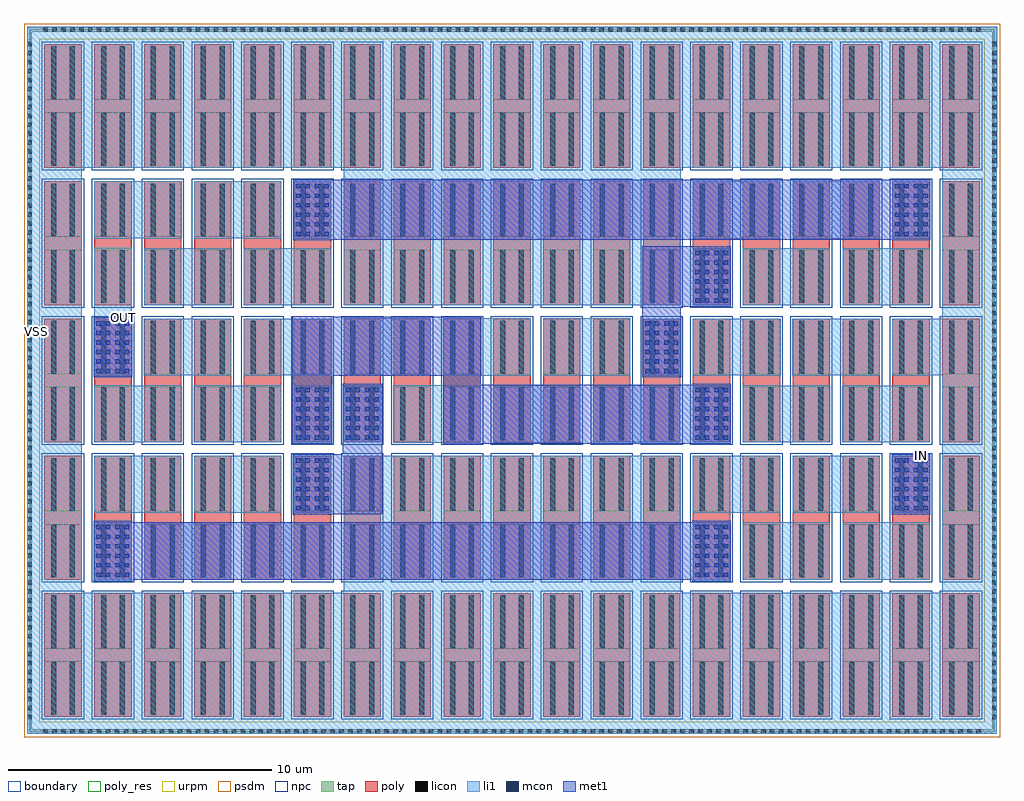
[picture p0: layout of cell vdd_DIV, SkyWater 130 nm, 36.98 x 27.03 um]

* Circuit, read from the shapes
.subckt vdd_DIV IN OUT VSS
XR1 VSS VSS VSS sky130_fd_pr__res_xhigh_po w=1.41 l=0.4 m=58
XR2 sky130_fd_pr__res_xhigh_po_1p41_FTWAA4_0/R1_1_1 sky130_fd_pr__res_xhigh_po_1p41_FTWAA4_0/R2_13_1 VSS sky130_fd_pr__res_xhigh_po w=1.41 l=0.4
XR3 OUT sky130_fd_pr__res_xhigh_po_1p41_FTWAA4_0/R2_1_2 VSS sky130_fd_pr__res_xhigh_po w=1.41 l=0.4
XR4 sky130_fd_pr__res_xhigh_po_1p41_FTWAA4_0/R1_1_3 OUT VSS sky130_fd_pr__res_xhigh_po w=1.41 l=0.4
XR5 sky130_fd_pr__res_xhigh_po_1p41_FTWAA4_0/R1_1_1 sky130_fd_pr__res_xhigh_po_1p41_FTWAA4_0/R2_2_1 VSS sky130_fd_pr__res_xhigh_po w=1.41 l=0.4
XR6 sky130_fd_pr__res_xhigh_po_1p41_FTWAA4_0/R1_2_2 sky130_fd_pr__res_xhigh_po_1p41_FTWAA4_0/R2_1_2 VSS sky130_fd_pr__res_xhigh_po w=1.41 l=0.4
XR7 sky130_fd_pr__res_xhigh_po_1p41_FTWAA4_0/R1_1_3 sky130_fd_pr__res_xhigh_po_1p41_FTWAA4_0/R2_2_3 VSS sky130_fd_pr__res_xhigh_po w=1.41 l=0.4
XR8 sky130_fd_pr__res_xhigh_po_1p41_FTWAA4_0/R1_3_1 sky130_fd_pr__res_xhigh_po_1p41_FTWAA4_0/R2_2_1 VSS sky130_fd_pr__res_xhigh_po w=1.41 l=0.4
XR9 sky130_fd_pr__res_xhigh_po_1p41_FTWAA4_0/R1_2_2 sky130_fd_pr__res_xhigh_po_1p41_FTWAA4_0/R2_3_2 VSS sky130_fd_pr__res_xhigh_po w=1.41 l=0.4
XR10 sky130_fd_pr__res_xhigh_po_1p41_FTWAA4_0/R1_3_3 sky130_fd_pr__res_xhigh_po_1p41_FTWAA4_0/R2_2_3 VSS sky130_fd_pr__res_xhigh_po w=1.41 l=0.4
XR11 sky130_fd_pr__res_xhigh_po_1p41_FTWAA4_0/R1_3_1 sky130_fd_pr__res_xhigh_po_1p41_FTWAA4_0/R2_4_1 VSS sky130_fd_pr__res_xhigh_po w=1.41 l=0.4
XR12 sky130_fd_pr__res_xhigh_po_1p41_FTWAA4_0/R1_4_2 sky130_fd_pr__res_xhigh_po_1p41_FTWAA4_0/R2_3_2 VSS sky130_fd_pr__res_xhigh_po w=1.41 l=0.4
XR13 sky130_fd_pr__res_xhigh_po_1p41_FTWAA4_0/R1_3_3 sky130_fd_pr__res_xhigh_po_1p41_FTWAA4_0/R2_4_3 VSS sky130_fd_pr__res_xhigh_po w=1.41 l=0.4
XR14 sky130_fd_pr__res_xhigh_po_1p41_FTWAA4_0/R1_5_1 sky130_fd_pr__res_xhigh_po_1p41_FTWAA4_0/R2_4_1 VSS sky130_fd_pr__res_xhigh_po w=1.41 l=0.4
XR15 sky130_fd_pr__res_xhigh_po_1p41_FTWAA4_0/R1_4_2 sky130_fd_pr__res_xhigh_po_1p41_FTWAA4_0/R2_13_2 VSS sky130_fd_pr__res_xhigh_po w=1.41 l=0.4
XR16 sky130_fd_pr__res_xhigh_po_1p41_FTWAA4_0/R1_17_3 sky130_fd_pr__res_xhigh_po_1p41_FTWAA4_0/R2_4_3 VSS sky130_fd_pr__res_xhigh_po w=1.41 l=0.4
XR17 sky130_fd_pr__res_xhigh_po_1p41_FTWAA4_0/R1_6_2 sky130_fd_pr__res_xhigh_po_1p41_FTWAA4_0/R1_5_1 VSS sky130_fd_pr__res_xhigh_po w=1.41 l=0.4
XR18 sky130_fd_pr__res_xhigh_po_1p41_FTWAA4_0/R1_6_2 sky130_fd_pr__res_xhigh_po_1p41_FTWAA4_0/R2_7_2 VSS sky130_fd_pr__res_xhigh_po w=1.41 l=0.4
XR19 sky130_fd_pr__res_xhigh_po_1p41_FTWAA4_0/R1_8_2 sky130_fd_pr__res_xhigh_po_1p41_FTWAA4_0/R2_7_2 VSS sky130_fd_pr__res_xhigh_po w=1.41 l=0.4
XR20 sky130_fd_pr__res_xhigh_po_1p41_FTWAA4_0/R1_8_2 sky130_fd_pr__res_xhigh_po_1p41_FTWAA4_0/R2_10_2 VSS sky130_fd_pr__res_xhigh_po w=1.41 l=0.4
XR21 sky130_fd_pr__res_xhigh_po_1p41_FTWAA4_0/R1_10_2 sky130_fd_pr__res_xhigh_po_1p41_FTWAA4_0/R2_10_2 VSS sky130_fd_pr__res_xhigh_po w=1.41 l=0.4
XR22 sky130_fd_pr__res_xhigh_po_1p41_FTWAA4_0/R1_10_2 sky130_fd_pr__res_xhigh_po_1p41_FTWAA4_0/R2_11_2 VSS sky130_fd_pr__res_xhigh_po w=1.41 l=0.4
XR23 sky130_fd_pr__res_xhigh_po_1p41_FTWAA4_0/R1_12_2 sky130_fd_pr__res_xhigh_po_1p41_FTWAA4_0/R2_11_2 VSS sky130_fd_pr__res_xhigh_po w=1.41 l=0.4
XR24 sky130_fd_pr__res_xhigh_po_1p41_FTWAA4_0/R1_13_1 sky130_fd_pr__res_xhigh_po_1p41_FTWAA4_0/R2_13_1 VSS sky130_fd_pr__res_xhigh_po w=1.41 l=0.4
XR25 sky130_fd_pr__res_xhigh_po_1p41_FTWAA4_0/R1_13_2 sky130_fd_pr__res_xhigh_po_1p41_FTWAA4_0/R2_13_2 VSS sky130_fd_pr__res_xhigh_po w=1.41 l=0.4
XR26 sky130_fd_pr__res_xhigh_po_1p41_FTWAA4_0/R1_13_3 sky130_fd_pr__res_xhigh_po_1p41_FTWAA4_0/R1_12_2 VSS sky130_fd_pr__res_xhigh_po w=1.41 l=0.4
XR27 sky130_fd_pr__res_xhigh_po_1p41_FTWAA4_0/R1_13_1 sky130_fd_pr__res_xhigh_po_1p41_FTWAA4_0/R2_14_1 VSS sky130_fd_pr__res_xhigh_po w=1.41 l=0.4
XR28 sky130_fd_pr__res_xhigh_po_1p41_FTWAA4_0/R1_13_2 sky130_fd_pr__res_xhigh_po_1p41_FTWAA4_0/R2_14_2 VSS sky130_fd_pr__res_xhigh_po w=1.41 l=0.4
XR29 sky130_fd_pr__res_xhigh_po_1p41_FTWAA4_0/R1_13_3 sky130_fd_pr__res_xhigh_po_1p41_FTWAA4_0/R2_14_3 VSS sky130_fd_pr__res_xhigh_po w=1.41 l=0.4
XR30 sky130_fd_pr__res_xhigh_po_1p41_FTWAA4_0/R1_15_1 sky130_fd_pr__res_xhigh_po_1p41_FTWAA4_0/R2_14_1 VSS sky130_fd_pr__res_xhigh_po w=1.41 l=0.4
XR31 sky130_fd_pr__res_xhigh_po_1p41_FTWAA4_0/R1_15_2 sky130_fd_pr__res_xhigh_po_1p41_FTWAA4_0/R2_14_2 VSS sky130_fd_pr__res_xhigh_po w=1.41 l=0.4
XR32 sky130_fd_pr__res_xhigh_po_1p41_FTWAA4_0/R1_15_3 sky130_fd_pr__res_xhigh_po_1p41_FTWAA4_0/R2_14_3 VSS sky130_fd_pr__res_xhigh_po w=1.41 l=0.4
XR33 sky130_fd_pr__res_xhigh_po_1p41_FTWAA4_0/R1_15_1 sky130_fd_pr__res_xhigh_po_1p41_FTWAA4_0/R2_16_1 VSS sky130_fd_pr__res_xhigh_po w=1.41 l=0.4
XR34 sky130_fd_pr__res_xhigh_po_1p41_FTWAA4_0/R1_15_2 sky130_fd_pr__res_xhigh_po_1p41_FTWAA4_0/R2_16_2 VSS sky130_fd_pr__res_xhigh_po w=1.41 l=0.4
XR35 sky130_fd_pr__res_xhigh_po_1p41_FTWAA4_0/R1_15_3 sky130_fd_pr__res_xhigh_po_1p41_FTWAA4_0/R2_16_3 VSS sky130_fd_pr__res_xhigh_po w=1.41 l=0.4
XR36 IN sky130_fd_pr__res_xhigh_po_1p41_FTWAA4_0/R2_16_1 VSS sky130_fd_pr__res_xhigh_po w=1.41 l=0.4
XR37 VSS sky130_fd_pr__res_xhigh_po_1p41_FTWAA4_0/R2_16_2 VSS sky130_fd_pr__res_xhigh_po w=1.41 l=0.4
XR38 sky130_fd_pr__res_xhigh_po_1p41_FTWAA4_0/R1_17_3 sky130_fd_pr__res_xhigh_po_1p41_FTWAA4_0/R2_16_3 VSS sky130_fd_pr__res_xhigh_po w=1.41 l=0.4
.ends

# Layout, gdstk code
import gdstk
lib = gdstk.Library(unit=1e-6, precision=1e-09)
def R(c, l, rs):  # rectangles x0, y0, x1, y1
    for r in rs: c.add(gdstk.rectangle(r[:2], r[2:], *l))
def A(c, l, x, y, w, h, nx, ny, dx, dy):  # array of equal rectangles
    R(c, l, [(x+i*dx, y+j*dy, x+i*dx+w, y+j*dy+h) for i in range(nx) for j in range(ny)])
tap = (65, 44)
poly_res = (66, 13)
poly = (66, 20)
licon = (66, 44)
li1 = (67, 20)
mcon = (67, 44)
met1 = (68, 20)
urpm = (79, 20)
psdm = (94, 20)
npc = (95, 20)
boundary = (235, 4)

sky130_fd_pr__res_xhigh_ = lib.new_cell('sky130_fd_pr__res_xhigh_po_1p41_FTWAA4')
R(sky130_fd_pr__res_xhigh_, tap, [(-18.365,-13.39,18.365,-13.22), (-18.365,-13.22,-18.195,13.22), (18.195,-13.22,18.365,13.22), (-18.365,13.22,18.365,13.39)])
A(sky130_fd_pr__res_xhigh_, poly_res, -17.715, -10.66, 1.41, 0.52, 19, 5, 1.89, 5.2)
A(sky130_fd_pr__res_xhigh_, poly, -17.715, -12.74, 1.41, 4.68, 19, 5, 1.89, 5.2)
A(sky130_fd_pr__res_xhigh_, licon, -17.765, -13.39, 0.17, 0.17, 105, 2, 0.34, 26.61)
A(sky130_fd_pr__res_xhigh_, licon, -18.365, -12.835, 0.17, 0.17, 1, 76, 0, 0.34)
A(sky130_fd_pr__res_xhigh_, licon, 18.195, -12.835, 0.17, 0.17, 1, 76, 0, 0.34)
R(sky130_fd_pr__res_xhigh_, licon, [(-17.46,-12.66,-17.27,-10.66), (-16.75,-12.66,-16.56,-10.66), (-15.57,-12.66,-15.38,-10.66), (-14.86,-12.66,-14.67,-10.66), (-13.68,-12.66,-13.49,-10.66), (-12.97,-12.66,-12.78,-10.66), (-11.79,-12.66,-11.6,-10.66), (-11.08,-12.66,-10.89,-10.66), (-9.9,-12.66,-9.71,-10.66), (-9.19,-12.66,-9,-10.66), (-8.01,-12.66,-7.82,-10.66), (-7.3,-12.66,-7.11,-10.66), (-6.12,-12.66,-5.93,-10.66), (-5.41,-12.66,-5.22,-10.66), (-4.23,-12.66,-4.04,-10.66), (-3.52,-12.66,-3.33,-10.66), (-2.34,-12.66,-2.15,-10.66), (-1.63,-12.66,-1.44,-10.66), (-0.45,-12.66,-0.26,-10.66), (0.26,-12.66,0.45,-10.66), (1.44,-12.66,1.63,-10.66), (2.15,-12.66,2.34,-10.66), (3.33,-12.66,3.52,-10.66), (4.04,-12.66,4.23,-10.66), (5.22,-12.66,5.41,-10.66), (5.93,-12.66,6.12,-10.66), (7.11,-12.66,7.3,-10.66), (7.82,-12.66,8.01,-10.66), (9,-12.66,9.19,-10.66), (9.71,-12.66,9.9,-10.66), (10.89,-12.66,11.08,-10.66), (11.6,-12.66,11.79,-10.66), (12.78,-12.66,12.97,-10.66), (13.49,-12.66,13.68,-10.66), (14.67,-12.66,14.86,-10.66), (15.38,-12.66,15.57,-10.66), (16.56,-12.66,16.75,-10.66), (17.27,-12.66,17.46,-10.66), (-17.46,-10.14,-17.27,-8.14), (-16.75,-10.14,-16.56,-8.14), (-15.57,-10.14,-15.38,-8.14), (-14.86,-10.14,-14.67,-8.14), (-13.68,-10.14,-13.49,-8.14), (-12.97,-10.14,-12.78,-8.14), (-11.79,-10.14,-11.6,-8.14), (-11.08,-10.14,-10.89,-8.14), (-9.9,-10.14,-9.71,-8.14), (-9.19,-10.14,-9,-8.14), (-8.01,-10.14,-7.82,-8.14), (-7.3,-10.14,-7.11,-8.14), (-6.12,-10.14,-5.93,-8.14), (-5.41,-10.14,-5.22,-8.14), (-4.23,-10.14,-4.04,-8.14), (-3.52,-10.14,-3.33,-8.14), (-2.34,-10.14,-2.15,-8.14), (-1.63,-10.14,-1.44,-8.14), (-0.45,-10.14,-0.26,-8.14), (0.26,-10.14,0.45,-8.14), (1.44,-10.14,1.63,-8.14), (2.15,-10.14,2.34,-8.14), (3.33,-10.14,3.52,-8.14), (4.04,-10.14,4.23,-8.14), (5.22,-10.14,5.41,-8.14), (5.93,-10.14,6.12,-8.14), (7.11,-10.14,7.3,-8.14), (7.82,-10.14,8.01,-8.14), (9,-10.14,9.19,-8.14), (9.71,-10.14,9.9,-8.14), (10.89,-10.14,11.08,-8.14), (11.6,-10.14,11.79,-8.14), (12.78,-10.14,12.97,-8.14), (13.49,-10.14,13.68,-8.14), (14.67,-10.14,14.86,-8.14), (15.38,-10.14,15.57,-8.14), (16.56,-10.14,16.75,-8.14), (17.27,-10.14,17.46,-8.14), (-17.46,-7.46,-17.27,-5.46), (-16.75,-7.46,-16.56,-5.46), (-15.57,-7.46,-15.38,-5.46), (-14.86,-7.46,-14.67,-5.46), (-13.68,-7.46,-13.49,-5.46), (-12.97,-7.46,-12.78,-5.46), (-11.79,-7.46,-11.6,-5.46), (-11.08,-7.46,-10.89,-5.46), (-9.9,-7.46,-9.71,-5.46), (-9.19,-7.46,-9,-5.46), (-8.01,-7.46,-7.82,-5.46), (-7.3,-7.46,-7.11,-5.46), (-6.12,-7.46,-5.93,-5.46), (-5.41,-7.46,-5.22,-5.46), (-4.23,-7.46,-4.04,-5.46), (-3.52,-7.46,-3.33,-5.46), (-2.34,-7.46,-2.15,-5.46), (-1.63,-7.46,-1.44,-5.46), (-0.45,-7.46,-0.26,-5.46), (0.26,-7.46,0.45,-5.46), (1.44,-7.46,1.63,-5.46), (2.15,-7.46,2.34,-5.46), (3.33,-7.46,3.52,-5.46), (4.04,-7.46,4.23,-5.46), (5.22,-7.46,5.41,-5.46), (5.93,-7.46,6.12,-5.46), (7.11,-7.46,7.3,-5.46), (7.82,-7.46,8.01,-5.46), (9,-7.46,9.19,-5.46), (9.71,-7.46,9.9,-5.46), (10.89,-7.46,11.08,-5.46), (11.6,-7.46,11.79,-5.46), (12.78,-7.46,12.97,-5.46), (13.49,-7.46,13.68,-5.46), (14.67,-7.46,14.86,-5.46), (15.38,-7.46,15.57,-5.46), (16.56,-7.46,16.75,-5.46), (17.27,-7.46,17.46,-5.46), (-17.46,-4.94,-17.27,-2.94), (-16.75,-4.94,-16.56,-2.94), (-15.57,-4.94,-15.38,-2.94), (-14.86,-4.94,-14.67,-2.94), (-13.68,-4.94,-13.49,-2.94), (-12.97,-4.94,-12.78,-2.94), (-11.79,-4.94,-11.6,-2.94), (-11.08,-4.94,-10.89,-2.94), (-9.9,-4.94,-9.71,-2.94), (-9.19,-4.94,-9,-2.94), (-8.01,-4.94,-7.82,-2.94), (-7.3,-4.94,-7.11,-2.94), (-6.12,-4.94,-5.93,-2.94), (-5.41,-4.94,-5.22,-2.94), (-4.23,-4.94,-4.04,-2.94), (-3.52,-4.94,-3.33,-2.94), (-2.34,-4.94,-2.15,-2.94), (-1.63,-4.94,-1.44,-2.94), (-0.45,-4.94,-0.26,-2.94), (0.26,-4.94,0.45,-2.94), (1.44,-4.94,1.63,-2.94), (2.15,-4.94,2.34,-2.94), (3.33,-4.94,3.52,-2.94), (4.04,-4.94,4.23,-2.94), (5.22,-4.94,5.41,-2.94), (5.93,-4.94,6.12,-2.94), (7.11,-4.94,7.3,-2.94), (7.82,-4.94,8.01,-2.94), (9,-4.94,9.19,-2.94), (9.71,-4.94,9.9,-2.94), (10.89,-4.94,11.08,-2.94), (11.6,-4.94,11.79,-2.94), (12.78,-4.94,12.97,-2.94), (13.49,-4.94,13.68,-2.94), (14.67,-4.94,14.86,-2.94), (15.38,-4.94,15.57,-2.94), (16.56,-4.94,16.75,-2.94), (17.27,-4.94,17.46,-2.94), (-17.46,-2.26,-17.27,-0.26), (-16.75,-2.26,-16.56,-0.26), (-15.57,-2.26,-15.38,-0.26), (-14.86,-2.26,-14.67,-0.26), (-13.68,-2.26,-13.49,-0.26), (-12.97,-2.26,-12.78,-0.26), (-11.79,-2.26,-11.6,-0.26), (-11.08,-2.26,-10.89,-0.26), (-9.9,-2.26,-9.71,-0.26), (-9.19,-2.26,-9,-0.26), (-8.01,-2.26,-7.82,-0.26), (-7.3,-2.26,-7.11,-0.26), (-6.12,-2.26,-5.93,-0.26), (-5.41,-2.26,-5.22,-0.26), (-4.23,-2.26,-4.04,-0.26), (-3.52,-2.26,-3.33,-0.26), (-2.34,-2.26,-2.15,-0.26), (-1.63,-2.26,-1.44,-0.26), (-0.45,-2.26,-0.26,-0.26), (0.26,-2.26,0.45,-0.26), (1.44,-2.26,1.63,-0.26), (2.15,-2.26,2.34,-0.26), (3.33,-2.26,3.52,-0.26), (4.04,-2.26,4.23,-0.26), (5.22,-2.26,5.41,-0.26), (5.93,-2.26,6.12,-0.26), (7.11,-2.26,7.3,-0.26), (7.82,-2.26,8.01,-0.26), (9,-2.26,9.19,-0.26), (9.71,-2.26,9.9,-0.26), (10.89,-2.26,11.08,-0.26), (11.6,-2.26,11.79,-0.26), (12.78,-2.26,12.97,-0.26), (13.49,-2.26,13.68,-0.26), (14.67,-2.26,14.86,-0.26), (15.38,-2.26,15.57,-0.26), (16.56,-2.26,16.75,-0.26), (17.27,-2.26,17.46,-0.26), (-17.46,0.26,-17.27,2.26), (-16.75,0.26,-16.56,2.26), (-15.57,0.26,-15.38,2.26), (-14.86,0.26,-14.67,2.26), (-13.68,0.26,-13.49,2.26), (-12.97,0.26,-12.78,2.26), (-11.79,0.26,-11.6,2.26), (-11.08,0.26,-10.89,2.26), (-9.9,0.26,-9.71,2.26), (-9.19,0.26,-9,2.26), (-8.01,0.26,-7.82,2.26), (-7.3,0.26,-7.11,2.26), (-6.12,0.26,-5.93,2.26), (-5.41,0.26,-5.22,2.26), (-4.23,0.26,-4.04,2.26), (-3.52,0.26,-3.33,2.26), (-2.34,0.26,-2.15,2.26), (-1.63,0.26,-1.44,2.26), (-0.45,0.26,-0.26,2.26), (0.26,0.26,0.45,2.26), (1.44,0.26,1.63,2.26), (2.15,0.26,2.34,2.26), (3.33,0.26,3.52,2.26), (4.04,0.26,4.23,2.26), (5.22,0.26,5.41,2.26), (5.93,0.26,6.12,2.26), (7.11,0.26,7.3,2.26), (7.82,0.26,8.01,2.26), (9,0.26,9.19,2.26), (9.71,0.26,9.9,2.26), (10.89,0.26,11.08,2.26), (11.6,0.26,11.79,2.26), (12.78,0.26,12.97,2.26), (13.49,0.26,13.68,2.26), (14.67,0.26,14.86,2.26), (15.38,0.26,15.57,2.26), (16.56,0.26,16.75,2.26), (17.27,0.26,17.46,2.26), (-17.46,2.94,-17.27,4.94), (-16.75,2.94,-16.56,4.94), (-15.57,2.94,-15.38,4.94), (-14.86,2.94,-14.67,4.94), (-13.68,2.94,-13.49,4.94), (-12.97,2.94,-12.78,4.94), (-11.79,2.94,-11.6,4.94), (-11.08,2.94,-10.89,4.94), (-9.9,2.94,-9.71,4.94), (-9.19,2.94,-9,4.94), (-8.01,2.94,-7.82,4.94), (-7.3,2.94,-7.11,4.94), (-6.12,2.94,-5.93,4.94), (-5.41,2.94,-5.22,4.94), (-4.23,2.94,-4.04,4.94), (-3.52,2.94,-3.33,4.94), (-2.34,2.94,-2.15,4.94), (-1.63,2.94,-1.44,4.94), (-0.45,2.94,-0.26,4.94), (0.26,2.94,0.45,4.94), (1.44,2.94,1.63,4.94), (2.15,2.94,2.34,4.94), (3.33,2.94,3.52,4.94), (4.04,2.94,4.23,4.94), (5.22,2.94,5.41,4.94), (5.93,2.94,6.12,4.94), (7.11,2.94,7.3,4.94), (7.82,2.94,8.01,4.94), (9,2.94,9.19,4.94), (9.71,2.94,9.9,4.94), (10.89,2.94,11.08,4.94), (11.6,2.94,11.79,4.94), (12.78,2.94,12.97,4.94), (13.49,2.94,13.68,4.94), (14.67,2.94,14.86,4.94), (15.38,2.94,15.57,4.94), (16.56,2.94,16.75,4.94), (17.27,2.94,17.46,4.94), (-17.46,5.46,-17.27,7.46), (-16.75,5.46,-16.56,7.46), (-15.57,5.46,-15.38,7.46), (-14.86,5.46,-14.67,7.46), (-13.68,5.46,-13.49,7.46), (-12.97,5.46,-12.78,7.46), (-11.79,5.46,-11.6,7.46), (-11.08,5.46,-10.89,7.46), (-9.9,5.46,-9.71,7.46), (-9.19,5.46,-9,7.46), (-8.01,5.46,-7.82,7.46), (-7.3,5.46,-7.11,7.46), (-6.12,5.46,-5.93,7.46), (-5.41,5.46,-5.22,7.46), (-4.23,5.46,-4.04,7.46), (-3.52,5.46,-3.33,7.46), (-2.34,5.46,-2.15,7.46), (-1.63,5.46,-1.44,7.46), (-0.45,5.46,-0.26,7.46), (0.26,5.46,0.45,7.46), (1.44,5.46,1.63,7.46), (2.15,5.46,2.34,7.46), (3.33,5.46,3.52,7.46), (4.04,5.46,4.23,7.46), (5.22,5.46,5.41,7.46), (5.93,5.46,6.12,7.46), (7.11,5.46,7.3,7.46), (7.82,5.46,8.01,7.46), (9,5.46,9.19,7.46), (9.71,5.46,9.9,7.46), (10.89,5.46,11.08,7.46), (11.6,5.46,11.79,7.46), (12.78,5.46,12.97,7.46), (13.49,5.46,13.68,7.46), (14.67,5.46,14.86,7.46), (15.38,5.46,15.57,7.46), (16.56,5.46,16.75,7.46), (17.27,5.46,17.46,7.46), (-17.46,8.14,-17.27,10.14), (-16.75,8.14,-16.56,10.14), (-15.57,8.14,-15.38,10.14), (-14.86,8.14,-14.67,10.14), (-13.68,8.14,-13.49,10.14), (-12.97,8.14,-12.78,10.14), (-11.79,8.14,-11.6,10.14), (-11.08,8.14,-10.89,10.14), (-9.9,8.14,-9.71,10.14), (-9.19,8.14,-9,10.14), (-8.01,8.14,-7.82,10.14), (-7.3,8.14,-7.11,10.14), (-6.12,8.14,-5.93,10.14), (-5.41,8.14,-5.22,10.14), (-4.23,8.14,-4.04,10.14), (-3.52,8.14,-3.33,10.14), (-2.34,8.14,-2.15,10.14), (-1.63,8.14,-1.44,10.14), (-0.45,8.14,-0.26,10.14), (0.26,8.14,0.45,10.14), (1.44,8.14,1.63,10.14), (2.15,8.14,2.34,10.14), (3.33,8.14,3.52,10.14), (4.04,8.14,4.23,10.14), (5.22,8.14,5.41,10.14), (5.93,8.14,6.12,10.14), (7.11,8.14,7.3,10.14), (7.82,8.14,8.01,10.14), (9,8.14,9.19,10.14), (9.71,8.14,9.9,10.14), (10.89,8.14,11.08,10.14), (11.6,8.14,11.79,10.14), (12.78,8.14,12.97,10.14), (13.49,8.14,13.68,10.14), (14.67,8.14,14.86,10.14), (15.38,8.14,15.57,10.14), (16.56,8.14,16.75,10.14), (17.27,8.14,17.46,10.14), (-17.46,10.66,-17.27,12.66), (-16.75,10.66,-16.56,12.66), (-15.57,10.66,-15.38,12.66), (-14.86,10.66,-14.67,12.66), (-13.68,10.66,-13.49,12.66), (-12.97,10.66,-12.78,12.66), (-11.79,10.66,-11.6,12.66), (-11.08,10.66,-10.89,12.66), (-9.9,10.66,-9.71,12.66), (-9.19,10.66,-9,12.66), (-8.01,10.66,-7.82,12.66), (-7.3,10.66,-7.11,12.66), (-6.12,10.66,-5.93,12.66), (-5.41,10.66,-5.22,12.66), (-4.23,10.66,-4.04,12.66), (-3.52,10.66,-3.33,12.66), (-2.34,10.66,-2.15,12.66), (-1.63,10.66,-1.44,12.66), (-0.45,10.66,-0.26,12.66), (0.26,10.66,0.45,12.66), (1.44,10.66,1.63,12.66), (2.15,10.66,2.34,12.66), (3.33,10.66,3.52,12.66), (4.04,10.66,4.23,12.66), (5.22,10.66,5.41,12.66), (5.93,10.66,6.12,12.66), (7.11,10.66,7.3,12.66), (7.82,10.66,8.01,12.66), (9,10.66,9.19,12.66), (9.71,10.66,9.9,12.66), (10.89,10.66,11.08,12.66), (11.6,10.66,11.79,12.66), (12.78,10.66,12.97,12.66), (13.49,10.66,13.68,12.66), (14.67,10.66,14.86,12.66), (15.38,10.66,15.57,12.66), (16.56,10.66,16.75,12.66), (17.27,10.66,17.46,12.66)])
A(sky130_fd_pr__res_xhigh_, li1, -17.715, -12.74, 1.41, 2.16, 19, 2, 1.89, 2.52)
A(sky130_fd_pr__res_xhigh_, li1, -17.715, -7.54, 1.41, 2.16, 19, 2, 1.89, 2.52)
A(sky130_fd_pr__res_xhigh_, li1, -17.715, -2.34, 1.41, 2.16, 19, 2, 1.89, 2.52)
A(sky130_fd_pr__res_xhigh_, li1, -17.715, 2.86, 1.41, 2.16, 19, 2, 1.89, 2.52)
A(sky130_fd_pr__res_xhigh_, li1, -17.715, 8.06, 1.41, 2.16, 19, 2, 1.89, 2.52)
R(sky130_fd_pr__res_xhigh_, li1, [(-18.365,-13.39,18.365,-13.22), (-18.365,-13.22,-18.195,13.22), (18.195,-13.22,18.365,13.22), (-18.365,13.22,18.365,13.39)])
R(sky130_fd_pr__res_xhigh_, urpm, [(-17.915,-12.94,17.915,12.94)])
R(sky130_fd_pr__res_xhigh_, psdm, [(-18.49,-13.515,18.49,13.515)])
A(sky130_fd_pr__res_xhigh_, npc, -17.81, -12.835, 1.6, 4.87, 19, 5, 1.89, 5.2)
R(sky130_fd_pr__res_xhigh_, boundary, [(-18.28,-13.305,18.28,13.305)])
sky130_fd_pr__res_xhigh_.add(gdstk.Label('B', (0,-13.305), layer=67, texttype=5))
sky130_fd_pr__res_xhigh_.add(gdstk.Label('R1_0_0', (-17.01,-8.235), layer=67, texttype=5))
sky130_fd_pr__res_xhigh_.add(gdstk.Label('R2_0_0', (-17.01,-12.565), layer=67, texttype=5))
sky130_fd_pr__res_xhigh_.add(gdstk.Label('R1_0_1', (-17.01,-3.035), layer=67, texttype=5))
sky130_fd_pr__res_xhigh_.add(gdstk.Label('R2_0_1', (-17.01,-7.365), layer=67, texttype=5))
sky130_fd_pr__res_xhigh_.add(gdstk.Label('R1_0_2', (-17.01,2.165), layer=67, texttype=5))
sky130_fd_pr__res_xhigh_.add(gdstk.Label('R2_0_2', (-17.01,-2.165), layer=67, texttype=5))
sky130_fd_pr__res_xhigh_.add(gdstk.Label('R1_0_3', (-17.01,7.365), layer=67, texttype=5))
sky130_fd_pr__res_xhigh_.add(gdstk.Label('R2_0_3', (-17.01,3.035), layer=67, texttype=5))
sky130_fd_pr__res_xhigh_.add(gdstk.Label('R1_0_4', (-17.01,12.565), layer=67, texttype=5))
sky130_fd_pr__res_xhigh_.add(gdstk.Label('R2_0_4', (-17.01,8.235), layer=67, texttype=5))
sky130_fd_pr__res_xhigh_.add(gdstk.Label('R1_1_0', (-15.12,-8.235), layer=67, texttype=5))
sky130_fd_pr__res_xhigh_.add(gdstk.Label('R2_1_0', (-15.12,-12.565), layer=67, texttype=5))
sky130_fd_pr__res_xhigh_.add(gdstk.Label('R1_1_1', (-15.12,-3.035), layer=67, texttype=5))
sky130_fd_pr__res_xhigh_.add(gdstk.Label('R2_1_1', (-15.12,-7.365), layer=67, texttype=5))
sky130_fd_pr__res_xhigh_.add(gdstk.Label('R1_1_2', (-15.12,2.165), layer=67, texttype=5))
sky130_fd_pr__res_xhigh_.add(gdstk.Label('R2_1_2', (-15.12,-2.165), layer=67, texttype=5))
sky130_fd_pr__res_xhigh_.add(gdstk.Label('R1_1_3', (-15.12,7.365), layer=67, texttype=5))
sky130_fd_pr__res_xhigh_.add(gdstk.Label('R2_1_3', (-15.12,3.035), layer=67, texttype=5))
sky130_fd_pr__res_xhigh_.add(gdstk.Label('R1_1_4', (-15.12,12.565), layer=67, texttype=5))
sky130_fd_pr__res_xhigh_.add(gdstk.Label('R2_1_4', (-15.12,8.235), layer=67, texttype=5))
sky130_fd_pr__res_xhigh_.add(gdstk.Label('R1_2_0', (-13.23,-8.235), layer=67, texttype=5))
sky130_fd_pr__res_xhigh_.add(gdstk.Label('R2_2_0', (-13.23,-12.565), layer=67, texttype=5))
sky130_fd_pr__res_xhigh_.add(gdstk.Label('R1_2_1', (-13.23,-3.035), layer=67, texttype=5))
sky130_fd_pr__res_xhigh_.add(gdstk.Label('R2_2_1', (-13.23,-7.365), layer=67, texttype=5))
sky130_fd_pr__res_xhigh_.add(gdstk.Label('R1_2_2', (-13.23,2.165), layer=67, texttype=5))
sky130_fd_pr__res_xhigh_.add(gdstk.Label('R2_2_2', (-13.23,-2.165), layer=67, texttype=5))
sky130_fd_pr__res_xhigh_.add(gdstk.Label('R1_2_3', (-13.23,7.365), layer=67, texttype=5))
sky130_fd_pr__res_xhigh_.add(gdstk.Label('R2_2_3', (-13.23,3.035), layer=67, texttype=5))
sky130_fd_pr__res_xhigh_.add(gdstk.Label('R1_2_4', (-13.23,12.565), layer=67, texttype=5))
sky130_fd_pr__res_xhigh_.add(gdstk.Label('R2_2_4', (-13.23,8.235), layer=67, texttype=5))
sky130_fd_pr__res_xhigh_.add(gdstk.Label('R1_3_0', (-11.34,-8.235), layer=67, texttype=5))
sky130_fd_pr__res_xhigh_.add(gdstk.Label('R2_3_0', (-11.34,-12.565), layer=67, texttype=5))
sky130_fd_pr__res_xhigh_.add(gdstk.Label('R1_3_1', (-11.34,-3.035), layer=67, texttype=5))
sky130_fd_pr__res_xhigh_.add(gdstk.Label('R2_3_1', (-11.34,-7.365), layer=67, texttype=5))
sky130_fd_pr__res_xhigh_.add(gdstk.Label('R1_3_2', (-11.34,2.165), layer=67, texttype=5))
sky130_fd_pr__res_xhigh_.add(gdstk.Label('R2_3_2', (-11.34,-2.165), layer=67, texttype=5))
sky130_fd_pr__res_xhigh_.add(gdstk.Label('R1_3_3', (-11.34,7.365), layer=67, texttype=5))
sky130_fd_pr__res_xhigh_.add(gdstk.Label('R2_3_3', (-11.34,3.035), layer=67, texttype=5))
sky130_fd_pr__res_xhigh_.add(gdstk.Label('R1_3_4', (-11.34,12.565), layer=67, texttype=5))
sky130_fd_pr__res_xhigh_.add(gdstk.Label('R2_3_4', (-11.34,8.235), layer=67, texttype=5))
sky130_fd_pr__res_xhigh_.add(gdstk.Label('R1_4_0', (-9.45,-8.235), layer=67, texttype=5))
sky130_fd_pr__res_xhigh_.add(gdstk.Label('R2_4_0', (-9.45,-12.565), layer=67, texttype=5))
sky130_fd_pr__res_xhigh_.add(gdstk.Label('R1_4_1', (-9.45,-3.035), layer=67, texttype=5))
sky130_fd_pr__res_xhigh_.add(gdstk.Label('R2_4_1', (-9.45,-7.365), layer=67, texttype=5))
sky130_fd_pr__res_xhigh_.add(gdstk.Label('R1_4_2', (-9.45,2.165), layer=67, texttype=5))
sky130_fd_pr__res_xhigh_.add(gdstk.Label('R2_4_2', (-9.45,-2.165), layer=67, texttype=5))
sky130_fd_pr__res_xhigh_.add(gdstk.Label('R1_4_3', (-9.45,7.365), layer=67, texttype=5))
sky130_fd_pr__res_xhigh_.add(gdstk.Label('R2_4_3', (-9.45,3.035), layer=67, texttype=5))
sky130_fd_pr__res_xhigh_.add(gdstk.Label('R1_4_4', (-9.45,12.565), layer=67, texttype=5))
sky130_fd_pr__res_xhigh_.add(gdstk.Label('R2_4_4', (-9.45,8.235), layer=67, texttype=5))
sky130_fd_pr__res_xhigh_.add(gdstk.Label('R1_5_0', (-7.56,-8.235), layer=67, texttype=5))
sky130_fd_pr__res_xhigh_.add(gdstk.Label('R2_5_0', (-7.56,-12.565), layer=67, texttype=5))
sky130_fd_pr__res_xhigh_.add(gdstk.Label('R1_5_1', (-7.56,-3.035), layer=67, texttype=5))
sky130_fd_pr__res_xhigh_.add(gdstk.Label('R2_5_1', (-7.56,-7.365), layer=67, texttype=5))
sky130_fd_pr__res_xhigh_.add(gdstk.Label('R1_5_2', (-7.56,2.165), layer=67, texttype=5))
sky130_fd_pr__res_xhigh_.add(gdstk.Label('R2_5_2', (-7.56,-2.165), layer=67, texttype=5))
sky130_fd_pr__res_xhigh_.add(gdstk.Label('R1_5_3', (-7.56,7.365), layer=67, texttype=5))
sky130_fd_pr__res_xhigh_.add(gdstk.Label('R2_5_3', (-7.56,3.035), layer=67, texttype=5))
sky130_fd_pr__res_xhigh_.add(gdstk.Label('R1_5_4', (-7.56,12.565), layer=67, texttype=5))
sky130_fd_pr__res_xhigh_.add(gdstk.Label('R2_5_4', (-7.56,8.235), layer=67, texttype=5))
sky130_fd_pr__res_xhigh_.add(gdstk.Label('R1_6_0', (-5.67,-8.235), layer=67, texttype=5))
sky130_fd_pr__res_xhigh_.add(gdstk.Label('R2_6_0', (-5.67,-12.565), layer=67, texttype=5))
sky130_fd_pr__res_xhigh_.add(gdstk.Label('R1_6_1', (-5.67,-3.035), layer=67, texttype=5))
sky130_fd_pr__res_xhigh_.add(gdstk.Label('R2_6_1', (-5.67,-7.365), layer=67, texttype=5))
sky130_fd_pr__res_xhigh_.add(gdstk.Label('R1_6_2', (-5.67,2.165), layer=67, texttype=5))
sky130_fd_pr__res_xhigh_.add(gdstk.Label('R2_6_2', (-5.67,-2.165), layer=67, texttype=5))
sky130_fd_pr__res_xhigh_.add(gdstk.Label('R1_6_3', (-5.67,7.365), layer=67, texttype=5))
sky130_fd_pr__res_xhigh_.add(gdstk.Label('R2_6_3', (-5.67,3.035), layer=67, texttype=5))
sky130_fd_pr__res_xhigh_.add(gdstk.Label('R1_6_4', (-5.67,12.565), layer=67, texttype=5))
sky130_fd_pr__res_xhigh_.add(gdstk.Label('R2_6_4', (-5.67,8.235), layer=67, texttype=5))
sky130_fd_pr__res_xhigh_.add(gdstk.Label('R1_7_0', (-3.78,-8.235), layer=67, texttype=5))
sky130_fd_pr__res_xhigh_.add(gdstk.Label('R2_7_0', (-3.78,-12.565), layer=67, texttype=5))
sky130_fd_pr__res_xhigh_.add(gdstk.Label('R1_7_1', (-3.78,-3.035), layer=67, texttype=5))
sky130_fd_pr__res_xhigh_.add(gdstk.Label('R2_7_1', (-3.78,-7.365), layer=67, texttype=5))
sky130_fd_pr__res_xhigh_.add(gdstk.Label('R1_7_2', (-3.78,2.165), layer=67, texttype=5))
sky130_fd_pr__res_xhigh_.add(gdstk.Label('R2_7_2', (-3.78,-2.165), layer=67, texttype=5))
sky130_fd_pr__res_xhigh_.add(gdstk.Label('R1_7_3', (-3.78,7.365), layer=67, texttype=5))
sky130_fd_pr__res_xhigh_.add(gdstk.Label('R2_7_3', (-3.78,3.035), layer=67, texttype=5))
sky130_fd_pr__res_xhigh_.add(gdstk.Label('R1_7_4', (-3.78,12.565), layer=67, texttype=5))
sky130_fd_pr__res_xhigh_.add(gdstk.Label('R2_7_4', (-3.78,8.235), layer=67, texttype=5))
sky130_fd_pr__res_xhigh_.add(gdstk.Label('R1_8_0', (-1.89,-8.235), layer=67, texttype=5))
sky130_fd_pr__res_xhigh_.add(gdstk.Label('R2_8_0', (-1.89,-12.565), layer=67, texttype=5))
sky130_fd_pr__res_xhigh_.add(gdstk.Label('R1_8_1', (-1.89,-3.035), layer=67, texttype=5))
sky130_fd_pr__res_xhigh_.add(gdstk.Label('R2_8_1', (-1.89,-7.365), layer=67, texttype=5))
sky130_fd_pr__res_xhigh_.add(gdstk.Label('R1_8_2', (-1.89,2.165), layer=67, texttype=5))
sky130_fd_pr__res_xhigh_.add(gdstk.Label('R2_8_2', (-1.89,-2.165), layer=67, texttype=5))
sky130_fd_pr__res_xhigh_.add(gdstk.Label('R1_8_3', (-1.89,7.365), layer=67, texttype=5))
sky130_fd_pr__res_xhigh_.add(gdstk.Label('R2_8_3', (-1.89,3.035), layer=67, texttype=5))
sky130_fd_pr__res_xhigh_.add(gdstk.Label('R1_8_4', (-1.89,12.565), layer=67, texttype=5))
sky130_fd_pr__res_xhigh_.add(gdstk.Label('R2_8_4', (-1.89,8.235), layer=67, texttype=5))
sky130_fd_pr__res_xhigh_.add(gdstk.Label('R1_9_0', (0,-8.235), layer=67, texttype=5))
sky130_fd_pr__res_xhigh_.add(gdstk.Label('R2_9_0', (0,-12.565), layer=67, texttype=5))
sky130_fd_pr__res_xhigh_.add(gdstk.Label('R1_9_1', (0,-3.035), layer=67, texttype=5))
sky130_fd_pr__res_xhigh_.add(gdstk.Label('R2_9_1', (0,-7.365), layer=67, texttype=5))
sky130_fd_pr__res_xhigh_.add(gdstk.Label('R1_9_2', (0,2.165), layer=67, texttype=5))
sky130_fd_pr__res_xhigh_.add(gdstk.Label('R2_9_2', (0,-2.165), layer=67, texttype=5))
sky130_fd_pr__res_xhigh_.add(gdstk.Label('R1_9_3', (0,7.365), layer=67, texttype=5))
sky130_fd_pr__res_xhigh_.add(gdstk.Label('R2_9_3', (0,3.035), layer=67, texttype=5))
sky130_fd_pr__res_xhigh_.add(gdstk.Label('R1_9_4', (0,12.565), layer=67, texttype=5))
sky130_fd_pr__res_xhigh_.add(gdstk.Label('R2_9_4', (0,8.235), layer=67, texttype=5))
sky130_fd_pr__res_xhigh_.add(gdstk.Label('R1_10_0', (1.89,-8.235), layer=67, texttype=5))
sky130_fd_pr__res_xhigh_.add(gdstk.Label('R2_10_0', (1.89,-12.565), layer=67, texttype=5))
sky130_fd_pr__res_xhigh_.add(gdstk.Label('R1_10_1', (1.89,-3.035), layer=67, texttype=5))
sky130_fd_pr__res_xhigh_.add(gdstk.Label('R2_10_1', (1.89,-7.365), layer=67, texttype=5))
sky130_fd_pr__res_xhigh_.add(gdstk.Label('R1_10_2', (1.89,2.165), layer=67, texttype=5))
sky130_fd_pr__res_xhigh_.add(gdstk.Label('R2_10_2', (1.89,-2.165), layer=67, texttype=5))
sky130_fd_pr__res_xhigh_.add(gdstk.Label('R1_10_3', (1.89,7.365), layer=67, texttype=5))
sky130_fd_pr__res_xhigh_.add(gdstk.Label('R2_10_3', (1.89,3.035), layer=67, texttype=5))
sky130_fd_pr__res_xhigh_.add(gdstk.Label('R1_10_4', (1.89,12.565), layer=67, texttype=5))
sky130_fd_pr__res_xhigh_.add(gdstk.Label('R2_10_4', (1.89,8.235), layer=67, texttype=5))
sky130_fd_pr__res_xhigh_.add(gdstk.Label('R1_11_0', (3.78,-8.235), layer=67, texttype=5))
sky130_fd_pr__res_xhigh_.add(gdstk.Label('R2_11_0', (3.78,-12.565), layer=67, texttype=5))
sky130_fd_pr__res_xhigh_.add(gdstk.Label('R1_11_1', (3.78,-3.035), layer=67, texttype=5))
sky130_fd_pr__res_xhigh_.add(gdstk.Label('R2_11_1', (3.78,-7.365), layer=67, texttype=5))
sky130_fd_pr__res_xhigh_.add(gdstk.Label('R1_11_2', (3.78,2.165), layer=67, texttype=5))
sky130_fd_pr__res_xhigh_.add(gdstk.Label('R2_11_2', (3.78,-2.165), layer=67, texttype=5))
sky130_fd_pr__res_xhigh_.add(gdstk.Label('R1_11_3', (3.78,7.365), layer=67, texttype=5))
sky130_fd_pr__res_xhigh_.add(gdstk.Label('R2_11_3', (3.78,3.035), layer=67, texttype=5))
sky130_fd_pr__res_xhigh_.add(gdstk.Label('R1_11_4', (3.78,12.565), layer=67, texttype=5))
sky130_fd_pr__res_xhigh_.add(gdstk.Label('R2_11_4', (3.78,8.235), layer=67, texttype=5))
sky130_fd_pr__res_xhigh_.add(gdstk.Label('R1_12_0', (5.67,-8.235), layer=67, texttype=5))
sky130_fd_pr__res_xhigh_.add(gdstk.Label('R2_12_0', (5.67,-12.565), layer=67, texttype=5))
sky130_fd_pr__res_xhigh_.add(gdstk.Label('R1_12_1', (5.67,-3.035), layer=67, texttype=5))
sky130_fd_pr__res_xhigh_.add(gdstk.Label('R2_12_1', (5.67,-7.365), layer=67, texttype=5))
sky130_fd_pr__res_xhigh_.add(gdstk.Label('R1_12_2', (5.67,2.165), layer=67, texttype=5))
sky130_fd_pr__res_xhigh_.add(gdstk.Label('R2_12_2', (5.67,-2.165), layer=67, texttype=5))
sky130_fd_pr__res_xhigh_.add(gdstk.Label('R1_12_3', (5.67,7.365), layer=67, texttype=5))
sky130_fd_pr__res_xhigh_.add(gdstk.Label('R2_12_3', (5.67,3.035), layer=67, texttype=5))
sky130_fd_pr__res_xhigh_.add(gdstk.Label('R1_12_4', (5.67,12.565), layer=67, texttype=5))
sky130_fd_pr__res_xhigh_.add(gdstk.Label('R2_12_4', (5.67,8.235), layer=67, texttype=5))
sky130_fd_pr__res_xhigh_.add(gdstk.Label('R1_13_0', (7.56,-8.235), layer=67, texttype=5))
sky130_fd_pr__res_xhigh_.add(gdstk.Label('R2_13_0', (7.56,-12.565), layer=67, texttype=5))
sky130_fd_pr__res_xhigh_.add(gdstk.Label('R1_13_1', (7.56,-3.035), layer=67, texttype=5))
sky130_fd_pr__res_xhigh_.add(gdstk.Label('R2_13_1', (7.56,-7.365), layer=67, texttype=5))
sky130_fd_pr__res_xhigh_.add(gdstk.Label('R1_13_2', (7.56,2.165), layer=67, texttype=5))
sky130_fd_pr__res_xhigh_.add(gdstk.Label('R2_13_2', (7.56,-2.165), layer=67, texttype=5))
sky130_fd_pr__res_xhigh_.add(gdstk.Label('R1_13_3', (7.56,7.365), layer=67, texttype=5))
sky130_fd_pr__res_xhigh_.add(gdstk.Label('R2_13_3', (7.56,3.035), layer=67, texttype=5))
sky130_fd_pr__res_xhigh_.add(gdstk.Label('R1_13_4', (7.56,12.565), layer=67, texttype=5))
sky130_fd_pr__res_xhigh_.add(gdstk.Label('R2_13_4', (7.56,8.235), layer=67, texttype=5))
sky130_fd_pr__res_xhigh_.add(gdstk.Label('R1_14_0', (9.45,-8.235), layer=67, texttype=5))
sky130_fd_pr__res_xhigh_.add(gdstk.Label('R2_14_0', (9.45,-12.565), layer=67, texttype=5))
sky130_fd_pr__res_xhigh_.add(gdstk.Label('R1_14_1', (9.45,-3.035), layer=67, texttype=5))
sky130_fd_pr__res_xhigh_.add(gdstk.Label('R2_14_1', (9.45,-7.365), layer=67, texttype=5))
sky130_fd_pr__res_xhigh_.add(gdstk.Label('R1_14_2', (9.45,2.165), layer=67, texttype=5))
sky130_fd_pr__res_xhigh_.add(gdstk.Label('R2_14_2', (9.45,-2.165), layer=67, texttype=5))
sky130_fd_pr__res_xhigh_.add(gdstk.Label('R1_14_3', (9.45,7.365), layer=67, texttype=5))
sky130_fd_pr__res_xhigh_.add(gdstk.Label('R2_14_3', (9.45,3.035), layer=67, texttype=5))
sky130_fd_pr__res_xhigh_.add(gdstk.Label('R1_14_4', (9.45,12.565), layer=67, texttype=5))
sky130_fd_pr__res_xhigh_.add(gdstk.Label('R2_14_4', (9.45,8.235), layer=67, texttype=5))
sky130_fd_pr__res_xhigh_.add(gdstk.Label('R1_15_0', (11.34,-8.235), layer=67, texttype=5))
sky130_fd_pr__res_xhigh_.add(gdstk.Label('R2_15_0', (11.34,-12.565), layer=67, texttype=5))
sky130_fd_pr__res_xhigh_.add(gdstk.Label('R1_15_1', (11.34,-3.035), layer=67, texttype=5))
sky130_fd_pr__res_xhigh_.add(gdstk.Label('R2_15_1', (11.34,-7.365), layer=67, texttype=5))
sky130_fd_pr__res_xhigh_.add(gdstk.Label('R1_15_2', (11.34,2.165), layer=67, texttype=5))
sky130_fd_pr__res_xhigh_.add(gdstk.Label('R2_15_2', (11.34,-2.165), layer=67, texttype=5))
sky130_fd_pr__res_xhigh_.add(gdstk.Label('R1_15_3', (11.34,7.365), layer=67, texttype=5))
sky130_fd_pr__res_xhigh_.add(gdstk.Label('R2_15_3', (11.34,3.035), layer=67, texttype=5))
sky130_fd_pr__res_xhigh_.add(gdstk.Label('R1_15_4', (11.34,12.565), layer=67, texttype=5))
sky130_fd_pr__res_xhigh_.add(gdstk.Label('R2_15_4', (11.34,8.235), layer=67, texttype=5))
sky130_fd_pr__res_xhigh_.add(gdstk.Label('R1_16_0', (13.23,-8.235), layer=67, texttype=5))
sky130_fd_pr__res_xhigh_.add(gdstk.Label('R2_16_0', (13.23,-12.565), layer=67, texttype=5))
sky130_fd_pr__res_xhigh_.add(gdstk.Label('R1_16_1', (13.23,-3.035), layer=67, texttype=5))
sky130_fd_pr__res_xhigh_.add(gdstk.Label('R2_16_1', (13.23,-7.365), layer=67, texttype=5))
sky130_fd_pr__res_xhigh_.add(gdstk.Label('R1_16_2', (13.23,2.165), layer=67, texttype=5))
sky130_fd_pr__res_xhigh_.add(gdstk.Label('R2_16_2', (13.23,-2.165), layer=67, texttype=5))
sky130_fd_pr__res_xhigh_.add(gdstk.Label('R1_16_3', (13.23,7.365), layer=67, texttype=5))
sky130_fd_pr__res_xhigh_.add(gdstk.Label('R2_16_3', (13.23,3.035), layer=67, texttype=5))
sky130_fd_pr__res_xhigh_.add(gdstk.Label('R1_16_4', (13.23,12.565), layer=67, texttype=5))
sky130_fd_pr__res_xhigh_.add(gdstk.Label('R2_16_4', (13.23,8.235), layer=67, texttype=5))
sky130_fd_pr__res_xhigh_.add(gdstk.Label('R1_17_0', (15.12,-8.235), layer=67, texttype=5))
sky130_fd_pr__res_xhigh_.add(gdstk.Label('R2_17_0', (15.12,-12.565), layer=67, texttype=5))
sky130_fd_pr__res_xhigh_.add(gdstk.Label('R1_17_1', (15.12,-3.035), layer=67, texttype=5))
sky130_fd_pr__res_xhigh_.add(gdstk.Label('R2_17_1', (15.12,-7.365), layer=67, texttype=5))
sky130_fd_pr__res_xhigh_.add(gdstk.Label('R1_17_2', (15.12,2.165), layer=67, texttype=5))
sky130_fd_pr__res_xhigh_.add(gdstk.Label('R2_17_2', (15.12,-2.165), layer=67, texttype=5))
sky130_fd_pr__res_xhigh_.add(gdstk.Label('R1_17_3', (15.12,7.365), layer=67, texttype=5))
sky130_fd_pr__res_xhigh_.add(gdstk.Label('R2_17_3', (15.12,3.035), layer=67, texttype=5))
sky130_fd_pr__res_xhigh_.add(gdstk.Label('R1_17_4', (15.12,12.565), layer=67, texttype=5))
sky130_fd_pr__res_xhigh_.add(gdstk.Label('R2_17_4', (15.12,8.235), layer=67, texttype=5))
sky130_fd_pr__res_xhigh_.add(gdstk.Label('R1_18_0', (17.01,-8.235), layer=67, texttype=5))
sky130_fd_pr__res_xhigh_.add(gdstk.Label('R2_18_0', (17.01,-12.565), layer=67, texttype=5))
sky130_fd_pr__res_xhigh_.add(gdstk.Label('R1_18_1', (17.01,-3.035), layer=67, texttype=5))
sky130_fd_pr__res_xhigh_.add(gdstk.Label('R2_18_1', (17.01,-7.365), layer=67, texttype=5))
sky130_fd_pr__res_xhigh_.add(gdstk.Label('R1_18_2', (17.01,2.165), layer=67, texttype=5))
sky130_fd_pr__res_xhigh_.add(gdstk.Label('R2_18_2', (17.01,-2.165), layer=67, texttype=5))
sky130_fd_pr__res_xhigh_.add(gdstk.Label('R1_18_3', (17.01,7.365), layer=67, texttype=5))
sky130_fd_pr__res_xhigh_.add(gdstk.Label('R2_18_3', (17.01,3.035), layer=67, texttype=5))
sky130_fd_pr__res_xhigh_.add(gdstk.Label('R1_18_4', (17.01,12.565), layer=67, texttype=5))
sky130_fd_pr__res_xhigh_.add(gdstk.Label('R2_18_4', (17.01,8.235), layer=67, texttype=5))

vdd_div = lib.new_cell('vdd_DIV')
A(vdd_div, li1, 25.135, 5.765, 1.41, 2.16, 1, 3, 0, 5.2)
R(vdd_div, li1, [(-0.09,-0.085,36.65,5.255), (-0.09,5.255,1.975,21.365), (11.9,5.255,24.665,10.445), (34.585,5.255,36.65,13.495), (2.455,5.765,3.865,7.925), (4.345,5.765,7.645,7.925), (8.125,5.765,11.425,7.925), (27.025,5.765,30.325,7.925), (30.805,5.765,34.105,7.925), (2.455,8.285,5.755,10.445), (6.235,8.285,9.535,10.445), (10.015,8.285,11.425,10.445), (25.135,8.285,28.435,10.445), (28.915,8.285,32.215,10.445), (32.695,8.285,34.105,10.445), (13.79,10.955,17.08,13.12), (17.58,10.955,20.87,13.12), (27.025,10.96,30.345,13.105), (10.015,10.965,11.425,13.125), (11.905,10.965,13.315,13.125), (21.36,10.965,24.65,13.13), (2.455,10.97,5.775,13.115), (6.225,10.97,9.545,13.115), (30.795,10.97,34.115,13.115), (2.455,13.475,3.865,18.335), (23.245,13.485,24.655,15.645), (11.905,13.49,15.195,15.655), (15.68,13.49,18.97,15.655), (19.47,13.49,22.76,15.655), (8.125,13.495,11.445,15.64), (25.145,13.495,28.465,15.64), (28.9,13.495,32.22,15.64), (32.695,13.495,36.65,15.64), (4.33,13.505,7.65,15.65), (34.585,15.64,36.65,21.365), (11.905,16.155,24.67,21.365), (4.35,16.16,7.655,18.32), (8.13,16.16,11.435,18.32), (27.025,16.165,30.325,18.325), (30.805,16.165,34.105,18.325), (10.015,18.685,11.425,20.845), (25.135,18.685,28.435,20.845), (28.915,18.685,32.215,20.845), (32.695,18.685,34.105,20.845), (2.455,18.69,5.76,20.85), (6.235,18.69,9.54,20.85), (-0.09,21.365,36.66,26.7), (0.565,26.7,36.66,26.705)])
A(vdd_div, mcon, 2.535, 5.86, 0.17, 0.17, 4, 6, 0.36, 0.36)
A(vdd_div, mcon, 25.215, 5.86, 0.17, 0.17, 4, 6, 0.36, 0.36)
A(vdd_div, mcon, 10.095, 8.38, 0.17, 0.17, 4, 6, 0.36, 0.36)
A(vdd_div, mcon, 32.775, 8.38, 0.17, 0.17, 4, 6, 0.36, 0.36)
A(vdd_div, mcon, 10.095, 11.06, 0.17, 0.17, 4, 6, 0.36, 0.36)
A(vdd_div, mcon, 11.985, 11.06, 0.17, 0.17, 4, 6, 0.36, 0.36)
A(vdd_div, mcon, 25.215, 11.06, 0.17, 0.17, 4, 6, 0.36, 0.36)
A(vdd_div, mcon, 2.535, 13.58, 0.17, 0.17, 4, 6, 0.36, 0.36)
A(vdd_div, mcon, 23.325, 13.58, 0.17, 0.17, 4, 6, 0.36, 0.36)
A(vdd_div, mcon, 25.215, 16.26, 0.17, 0.17, 4, 6, 0.36, 0.36)
A(vdd_div, mcon, 10.095, 18.78, 0.17, 0.17, 4, 6, 0.36, 0.36)
A(vdd_div, mcon, 32.775, 18.78, 0.17, 0.17, 4, 6, 0.36, 0.36)
R(vdd_div, met1, [(2.425,5.705,3.895,5.765), (25.105,5.705,26.575,5.765), (2.425,5.765,26.575,7.93), (2.425,7.93,3.895,7.985), (25.105,7.93,26.575,7.985), (9.985,8.225,11.455,8.235), (32.665,8.225,34.135,10.505), (9.975,8.235,13.355,10.505), (11.875,10.505,13.355,13.18), (15.68,10.895,17.1,10.9), (15.68,10.9,26.565,10.905), (9.96,10.905,11.47,13.48), (15.68,10.905,26.575,13.14), (15.68,13.14,17.1,13.48), (25.105,13.14,26.575,13.185), (11.875,13.18,13.345,13.185), (2.425,13.425,3.895,15.705), (23.215,13.425,24.685,15.705), (9.96,13.48,17.11,15.72), (23.215,15.705,24.68,16.1), (9.96,15.72,11.47,15.73), (23.21,16.1,25.135,16.105), (23.21,16.105,26.575,18.385), (23.215,18.385,24.68,18.39), (9.985,18.625,11.455,18.63), (32.665,18.625,34.135,18.63), (9.985,18.63,34.135,20.91)])
vdd_div.add(gdstk.Reference(sky130_fd_pr__res_xhigh_, (18.28,13.305)))
vdd_div.add(gdstk.Label('IN', (33.795,10.475), layer=68, texttype=5))
vdd_div.add(gdstk.Label('OUT', (3.575,15.675), layer=68, texttype=5))
vdd_div.add(gdstk.Label('VSS', (0.26,15.145), layer=67, texttype=5))

lib.write_gds('vdd_DIV.gds')
